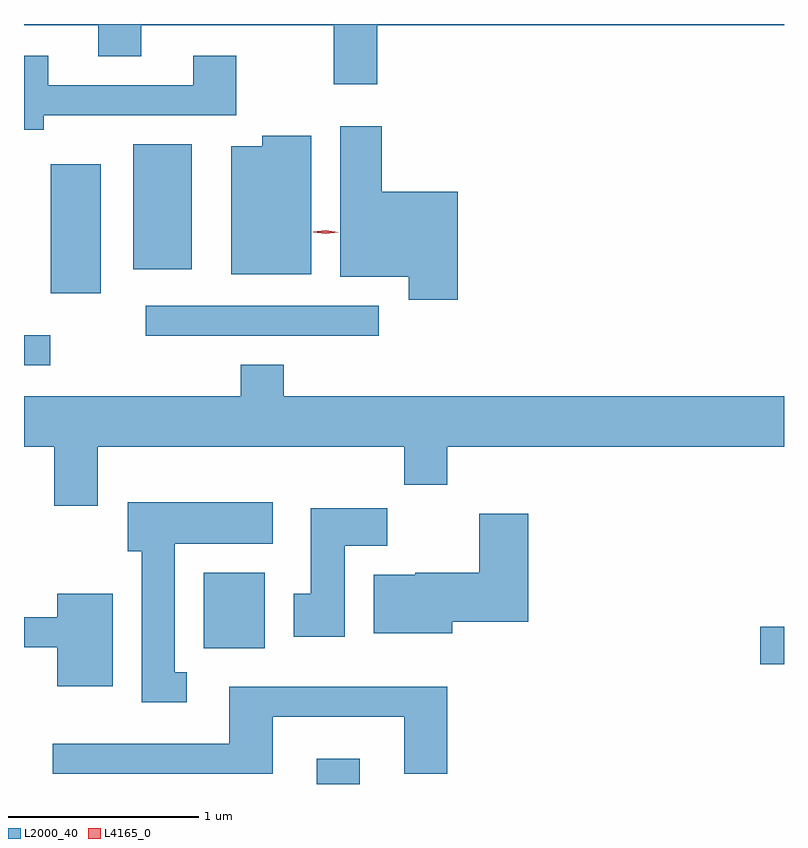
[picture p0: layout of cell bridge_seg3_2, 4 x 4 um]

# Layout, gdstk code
import gdstk
lib = gdstk.Library(unit=1e-6, precision=1e-09)
def R(c, l, rs):  # rectangles x0, y0, x1, y1
    for r in rs: c.add(gdstk.rectangle(r[:2], r[2:], *l))
def P(c, l, *ps):  # polygons
    for p in ps: c.add(gdstk.Polygon(p, *l))
L2000_40 = (2000, 40)
L4165_0 = (4165, 0)

bridge_seg3_2 = lib.new_cell('bridge_seg3_2')
R(bridge_seg3_2, L2000_40, [(1250.781,1248.562,1251.009,1248.694), (1253.116,1249.191,1253.241,1249.389), (1250.186,1249.276,1250.509,1249.674), (1249.241,1250.766,1249.378,1250.924), (1249.883,1250.921,1251.108,1251.079), (1249.381,1251.146,1249.644,1251.824), (1249.816,1251.271,1250.124,1251.929)])
P(bridge_seg3_2, L2000_40, [(1251.099,1252.556),(1253.241,1252.556),(1253.241,1252.562),(1249.241,1252.562),(1249.241,1252.556),(1249.631,1252.556),(1249.631,1252.391),(1249.859,1252.391),(1249.859,1252.556),(1250.871,1252.556),(1250.871,1252.246),(1251.099,1252.246)],
  [(1249.344,1252.081),(1250.359,1252.081),(1250.359,1252.394),(1250.131,1252.394),(1250.131,1252.239),(1249.369,1252.239),(1249.369,1252.394),(1249.241,1252.394),(1249.241,1252.006),(1249.344,1252.006)],
  [(1251.524,1251.679),(1251.124,1251.679),(1251.124,1252.024),(1250.906,1252.024),(1250.906,1251.231),(1251.266,1251.231),(1251.266,1251.111),(1251.524,1251.111)],
  [(1250.754,1251.974),(1250.496,1251.974),(1250.496,1251.919),(1250.331,1251.919),(1250.331,1251.246),(1250.754,1251.246)],
  [(1249.629,1250.336),(1251.241,1250.336),(1251.241,1250.136),(1251.469,1250.136),(1251.469,1250.336),(1253.241,1250.336),(1253.241,1250.604),(1250.609,1250.604),(1250.609,1250.769),(1250.381,1250.769),(1250.381,1250.604),(1249.241,1250.604),(1249.241,1250.336),(1249.401,1250.336),(1249.401,1250.026),(1249.629,1250.026)],
  [(1250.098,1249.149),(1250.034,1249.149),(1250.034,1249.826),(1250.549,1249.826),(1250.549,1250.044),(1249.786,1250.044),(1249.786,1249.786),(1249.861,1249.786),(1249.861,1248.991),(1250.098,1248.991)],
  [(1250.929,1249.816),(1251.154,1249.816),(1251.154,1250.014),(1250.751,1250.014),(1250.751,1249.564),(1250.661,1249.564),(1250.661,1249.336),(1250.929,1249.336)],
  [(1251.494,1249.416),(1251.894,1249.416),(1251.894,1249.984),(1251.636,1249.984),(1251.636,1249.674),(1251.3,1249.674),(1251.3,1249.664),(1251.081,1249.664),(1251.081,1249.356),(1251.494,1249.356)],
  [(1249.709,1249.564),(1249.416,1249.564),(1249.416,1249.439),(1249.241,1249.439),(1249.241,1249.281),(1249.416,1249.281),(1249.416,1249.076),(1249.709,1249.076)],
  [(1250.549,1248.916),(1251.241,1248.916),(1251.241,1248.616),(1251.469,1248.616),(1251.469,1249.074),(1250.321,1249.074),(1250.321,1248.774),(1249.393,1248.774),(1249.393,1248.616),(1250.549,1248.616)])
P(bridge_seg3_2, L4165_0, [(1250.83,1251.457),(1250.764,1251.467),(1250.763,1251.468),(1250.764,1251.468),(1250.83,1251.477),(1250.896,1251.466),(1250.896,1251.466),(1250.896,1251.465)])

lib.write_gds('bridge_seg3_2.gds')
